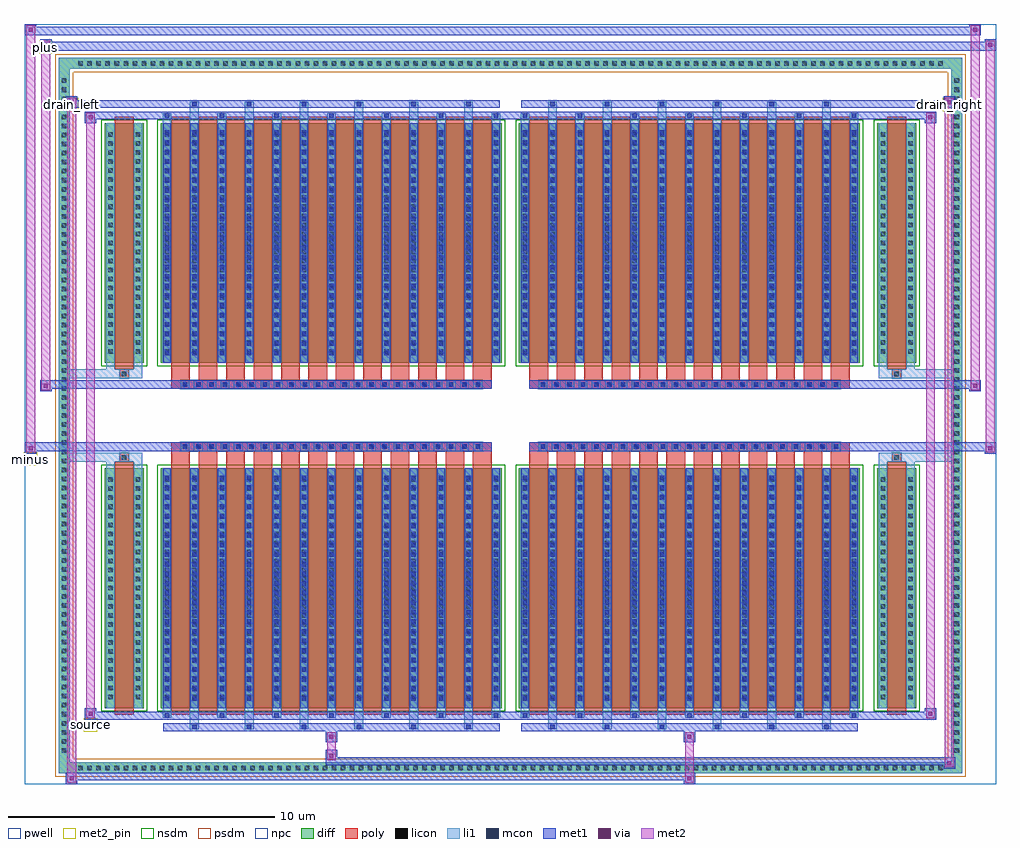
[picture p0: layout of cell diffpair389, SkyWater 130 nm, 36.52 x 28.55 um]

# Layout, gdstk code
import gdstk
lib = gdstk.Library(unit=1e-6, precision=5e-09)
def R(c, l, rs):  # rectangles x0, y0, x1, y1
    for r in rs: c.add(gdstk.rectangle(r[:2], r[2:], *l))
def A(c, l, x, y, w, h, nx, ny, dx, dy):  # array of equal rectangles
    R(c, l, [(x+i*dx, y+j*dy, x+i*dx+w, y+j*dy+h) for i in range(nx) for j in range(ny)])
def P(c, l, *ps):  # polygons
    for p in ps: c.add(gdstk.Polygon(p, *l))
pwell = (64, 44)
diff = (65, 20)
poly = (66, 20)
licon = (66, 44)
li1 = (67, 20)
mcon = (67, 44)
met1 = (68, 20)
via = (68, 44)
met2_pin = (69, 16)
met2 = (69, 20)
nsdm = (93, 44)
psdm = (94, 20)
npc = (95, 20)

diffpair389 = lib.new_cell('diffpair389')
R(diffpair389, pwell, [(-18.24,-13.84,18.24,14.71), (-15.56,-12.03,-0.01,-0.805), (0.01,-12.03,15.56,-0.805), (-15.56,0.805,-0.01,12.03), (0.01,0.805,15.56,12.03)])
A(diffpair389, diff, -16.355, -13.44, 0.41, 0.41, 96, 2, 0.34, 26.47)
A(diffpair389, diff, -16.97, -12.785, 0.41, 0.41, 1, 75, 0, 0.34)
A(diffpair389, diff, 16.56, -12.785, 0.41, 0.41, 1, 75, 0, 0.34)
R(diffpair389, diff, [(-16.355,-13.44,16.355,-13.03), (-16.97,-12.785,-16.56,12.785), (16.56,-12.785,16.97,12.785), (-15.25,-10.985,-13.77,-1.985), (-13.13,-10.985,-0.32,-1.985), (0.32,-10.985,13.13,-1.985), (13.77,-10.985,15.25,-1.985), (-15.25,1.985,-13.77,10.985), (-13.13,1.985,-0.32,10.985), (0.32,1.985,13.13,10.985), (13.77,1.985,15.25,10.985), (-16.355,13.03,16.355,13.44)])
P(diffpair389, diff, [(16.97,13.44),(-16.97,13.44),(-16.97,-13.03),(-16.56,-13.03),(-16.56,13.03),(16.56,13.03),(16.56,-13.03),(-16.56,-13.03),(-16.97,-13.03),(-16.97,-13.44),(16.97,-13.44)])
A(diffpair389, poly, -12.74, -11.235, 0.7, 9.5, 12, 2, 1.03, 12.97)
A(diffpair389, poly, 0.71, -11.235, 0.7, 9.5, 12, 2, 1.03, 12.97)
A(diffpair389, poly, -12.74, -1.735, 0.7, 0.4, 12, 2, 1.03, 3.07)
A(diffpair389, poly, 0.71, -1.735, 0.7, 0.4, 12, 2, 1.03, 3.07)
A(diffpair389, poly, -12.39, -1.335, 0.33, 0.33, 23, 2, 0.5, 2.34)
A(diffpair389, poly, 1.06, -1.335, 0.33, 0.33, 23, 2, 0.5, 2.34)
R(diffpair389, poly, [(-14.86,-11.235,-14.16,-1.735), (14.16,-11.235,14.86,-1.735), (-14.675,-1.735,-14.345,-1.405), (-14.675,-1.735,-14.345,-1.405), (14.345,-1.735,14.675,-1.405), (14.345,-1.735,14.675,-1.405), (-12.74,-1.335,-0.71,-1.005), (0.71,-1.335,12.74,-1.005), (-12.74,1.005,-0.71,1.335), (0.71,1.005,12.74,1.335), (-14.675,1.405,-14.345,1.735), (-14.675,1.405,-14.345,1.735), (14.345,1.405,14.675,1.735), (14.345,1.405,14.675,1.735), (-14.86,1.735,-14.16,11.235), (14.16,1.735,14.86,11.235)])
A(diffpair389, licon, -16.235, -13.32, 0.17, 0.17, 96, 2, 0.34, 26.47)
A(diffpair389, licon, -16.85, -12.665, 0.17, 0.17, 1, 75, 0, 0.34)
A(diffpair389, licon, 16.68, -12.665, 0.17, 0.17, 1, 75, 0, 0.34)
A(diffpair389, licon, -15.11, -10.65, 0.17, 0.17, 1, 25, 0, 0.34)
A(diffpair389, licon, -14.08, -10.65, 0.17, 0.17, 1, 25, 0, 0.34)
A(diffpair389, licon, -12.99, -10.65, 0.17, 0.17, 13, 25, 1.03, 0.34)
A(diffpair389, licon, 0.46, -10.65, 0.17, 0.17, 13, 25, 1.03, 0.34)
A(diffpair389, licon, 13.91, -10.65, 0.17, 0.17, 1, 25, 0, 0.34)
A(diffpair389, licon, 14.94, -10.65, 0.17, 0.17, 1, 25, 0, 0.34)
A(diffpair389, licon, -12.31, -1.255, 0.17, 0.17, 23, 2, 0.5, 2.34)
A(diffpair389, licon, 1.14, -1.255, 0.17, 0.17, 23, 2, 0.5, 2.34)
A(diffpair389, licon, -15.11, 2.32, 0.17, 0.17, 1, 25, 0, 0.34)
A(diffpair389, licon, -14.08, 2.32, 0.17, 0.17, 1, 25, 0, 0.34)
A(diffpair389, licon, -12.99, 2.32, 0.17, 0.17, 13, 25, 1.03, 0.34)
A(diffpair389, licon, 0.46, 2.32, 0.17, 0.17, 13, 25, 1.03, 0.34)
A(diffpair389, licon, 13.91, 2.32, 0.17, 0.17, 1, 25, 0, 0.34)
A(diffpair389, licon, 14.94, 2.32, 0.17, 0.17, 1, 25, 0, 0.34)
R(diffpair389, licon, [(-14.595,-1.655,-14.425,-1.485), (14.425,-1.655,14.595,-1.485), (-14.595,1.485,-14.425,1.655), (14.425,1.485,14.595,1.655)])
A(diffpair389, li1, -16.315, -13.4, 0.33, 0.33, 96, 2, 0.34, 26.47)
A(diffpair389, li1, -16.93, -12.745, 0.33, 0.33, 1, 75, 0, 0.34)
A(diffpair389, li1, 16.6, -12.745, 0.33, 0.33, 1, 75, 0, 0.34)
A(diffpair389, li1, -12.04, -11.79, 0.33, 0.805, 6, 2, 2.06, 22.775)
A(diffpair389, li1, -11.96, -11.79, 0.17, 0.17, 6, 2, 2.06, 23.41)
A(diffpair389, li1, 1.41, -11.79, 0.33, 0.805, 6, 2, 2.06, 22.775)
A(diffpair389, li1, 1.49, -11.79, 0.17, 0.17, 6, 2, 2.06, 23.41)
A(diffpair389, li1, -13.07, -11.36, 0.33, 0.375, 7, 2, 2.06, 22.345)
A(diffpair389, li1, -12.99, -11.36, 0.17, 0.17, 7, 2, 2.06, 22.55)
A(diffpair389, li1, 0.38, -11.36, 0.33, 0.375, 7, 2, 2.06, 22.345)
A(diffpair389, li1, 0.46, -11.36, 0.17, 0.17, 7, 2, 2.06, 22.55)
A(diffpair389, li1, -13.07, -10.985, 0.33, 9, 13, 2, 1.03, 12.97)
A(diffpair389, li1, 0.38, -10.985, 0.33, 9, 13, 2, 1.03, 12.97)
A(diffpair389, li1, -15.19, -10.73, 0.33, 0.33, 1, 25, 0, 0.34)
A(diffpair389, li1, -14.16, -10.73, 0.33, 0.33, 1, 25, 0, 0.34)
A(diffpair389, li1, -13.07, -10.73, 0.33, 0.33, 13, 25, 1.03, 0.34)
A(diffpair389, li1, 0.38, -10.73, 0.33, 0.33, 13, 25, 1.03, 0.34)
A(diffpair389, li1, 13.83, -10.73, 0.33, 0.33, 1, 25, 0, 0.34)
A(diffpair389, li1, 14.86, -10.73, 0.33, 0.33, 1, 25, 0, 0.34)
A(diffpair389, li1, -12.99, -10.71, 0.17, 0.17, 13, 24, 1.03, 0.36)
A(diffpair389, li1, -12.99, -10.71, 0.17, 8.45, 13, 2, 1.03, 12.97)
A(diffpair389, li1, 0.46, -10.71, 0.17, 0.17, 13, 24, 1.03, 0.36)
A(diffpair389, li1, 0.46, -10.71, 0.17, 8.45, 13, 2, 1.03, 12.97)
A(diffpair389, li1, -12.39, -1.335, 0.33, 0.33, 23, 2, 0.5, 2.34)
A(diffpair389, li1, 1.06, -1.335, 0.33, 0.33, 23, 2, 0.5, 2.34)
A(diffpair389, li1, -15.19, 2.24, 0.33, 0.33, 1, 25, 0, 0.34)
A(diffpair389, li1, -14.16, 2.24, 0.33, 0.33, 1, 25, 0, 0.34)
A(diffpair389, li1, -13.07, 2.24, 0.33, 0.33, 13, 25, 1.03, 0.34)
A(diffpair389, li1, 0.38, 2.24, 0.33, 0.33, 13, 25, 1.03, 0.34)
A(diffpair389, li1, 13.83, 2.24, 0.33, 0.33, 1, 25, 0, 0.34)
A(diffpair389, li1, 14.86, 2.24, 0.33, 0.33, 1, 25, 0, 0.34)
A(diffpair389, li1, -12.99, 2.26, 0.17, 0.17, 13, 24, 1.03, 0.36)
A(diffpair389, li1, 0.46, 2.26, 0.17, 0.17, 13, 24, 1.03, 0.36)
R(diffpair389, li1, [(-16.97,-13.44,-16.56,-13.03), (-16.97,-13.44,-16.56,-13.03), (-16.56,-13.44,16.56,-13.03), (16.56,-13.44,16.97,-13.03), (16.56,-13.44,16.97,-13.03), (-16.97,-13.03,-16.56,13.03), (16.56,-13.03,16.97,13.03), (-15.19,-10.985,-14.86,-1.985), (-14.16,-10.985,-13.83,-1.985), (13.83,-10.985,14.16,-1.985), (14.86,-10.985,15.19,-1.985), (-15.19,-1.985,-14.86,-1.405), (-14.16,-1.985,-13.83,-1.405), (13.83,-1.985,14.16,-1.405), (14.86,-1.985,15.19,-1.405), (-16.97,-1.735,-14.675,-1.405), (-15.19,-1.735,-14.675,-1.405), (-14.675,-1.735,-14.345,-1.405), (-14.345,-1.735,-13.83,-1.405), (13.83,-1.735,14.345,-1.405), (14.345,-1.735,14.675,-1.405), (14.345,-1.735,16.97,-1.405), (14.675,-1.735,15.19,-1.405), (-16.97,1.405,-14.675,1.735), (-15.19,1.405,-14.675,1.735), (-15.19,1.405,-14.86,1.985), (-14.675,1.405,-14.345,1.735), (-14.345,1.405,-13.83,1.735), (-14.16,1.405,-13.83,1.985), (13.83,1.405,14.345,1.735), (13.83,1.405,14.16,1.985), (14.345,1.405,14.675,1.735), (14.345,1.405,16.97,1.735), (14.675,1.405,15.19,1.735), (14.86,1.405,15.19,1.985), (-15.19,1.985,-14.86,10.985), (-14.16,1.985,-13.83,10.985), (13.83,1.985,14.16,10.985), (14.86,1.985,15.19,10.985), (-16.97,13.03,-16.56,13.44), (-16.97,13.03,-16.56,13.44), (-16.56,13.03,16.56,13.44), (16.56,13.03,16.97,13.44), (16.56,13.03,16.97,13.44)])
A(diffpair389, mcon, -11.96, -11.79, 0.17, 0.17, 6, 2, 2.06, 23.41)
A(diffpair389, mcon, 1.49, -11.79, 0.17, 0.17, 6, 2, 2.06, 23.41)
A(diffpair389, mcon, -12.99, -11.36, 0.17, 0.17, 7, 2, 2.06, 22.55)
A(diffpair389, mcon, 0.46, -11.36, 0.17, 0.17, 7, 2, 2.06, 22.55)
A(diffpair389, mcon, -12.99, -10.71, 0.17, 0.17, 13, 24, 1.03, 0.36)
A(diffpair389, mcon, 0.46, -10.71, 0.17, 0.17, 13, 24, 1.03, 0.36)
A(diffpair389, mcon, -12.31, -1.255, 0.17, 0.17, 23, 2, 0.5, 2.34)
A(diffpair389, mcon, 1.14, -1.255, 0.17, 0.17, 23, 2, 0.5, 2.34)
A(diffpair389, mcon, -12.99, 2.26, 0.17, 0.17, 13, 24, 1.03, 0.36)
A(diffpair389, mcon, 0.46, 2.26, 0.17, 0.17, 13, 24, 1.03, 0.36)
A(diffpair389, met1, -12.02, -11.85, 0.29, 0.29, 6, 2, 2.06, 23.41)
A(diffpair389, met1, 1.43, -11.85, 0.29, 0.29, 6, 2, 2.06, 23.41)
A(diffpair389, met1, -13.05, -11.42, 0.29, 0.29, 7, 2, 2.06, 22.55)
A(diffpair389, met1, 0.4, -11.42, 0.29, 0.29, 7, 2, 2.06, 22.55)
A(diffpair389, met1, -13.05, -10.985, 0.29, 9, 13, 2, 1.03, 12.97)
A(diffpair389, met1, 0.4, -10.985, 0.29, 9, 13, 2, 1.03, 12.97)
A(diffpair389, met1, -13.05, -10.77, 0.29, 0.29, 13, 24, 1.03, 0.36)
A(diffpair389, met1, 0.4, -10.77, 0.29, 0.29, 13, 24, 1.03, 0.36)
A(diffpair389, met1, -12.37, -1.315, 0.29, 0.29, 23, 2, 0.5, 2.34)
A(diffpair389, met1, 1.08, -1.315, 0.29, 0.29, 23, 2, 0.5, 2.34)
A(diffpair389, met1, -13.05, 2.2, 0.29, 0.29, 13, 24, 1.03, 0.36)
A(diffpair389, met1, 0.4, 2.2, 0.29, 0.29, 13, 24, 1.03, 0.36)
R(diffpair389, met1, [(-16.7,-13.84,-16.27,-13.41), (6.51,-13.84,6.94,-13.41), (-16.7,-13.7,6.94,-13.41), (16.27,-13.27,16.7,-12.84), (-6.94,-13.13,16.7,-12.84), (-6.94,-12.99,-6.51,-12.56), (-6.94,-12.28,-6.51,-11.85), (6.51,-12.28,6.94,-11.85), (-13.05,-11.85,-0.4,-11.56), (0.4,-11.85,13.05,-11.56), (-15.99,-11.42,-15.56,-10.99), (-15.99,-11.42,-13.05,-11.13), (-13.05,-11.42,-0.4,-11.13), (-0.4,-11.42,0.4,-11.13), (0.4,-11.42,13.05,-11.13), (13.05,-11.42,15.99,-11.13), (15.56,-11.42,15.99,-10.99), (-18.24,-1.435,-17.81,-1.005), (17.81,-1.435,18.24,-1.005), (-18.24,-1.335,-0.71,-1.005), (-12.74,-1.335,-0.71,-1.005), (0.71,-1.335,12.74,-1.005), (0.71,-1.335,18.24,-1.005), (-17.67,0.905,-17.24,1.335), (17.24,0.905,17.67,1.335), (-17.67,1.005,-12.74,1.335), (-12.74,1.005,-0.71,1.335), (0.71,1.005,12.74,1.335), (12.74,1.005,17.67,1.335), (-15.99,10.99,-15.56,11.42), (15.56,10.99,15.99,11.42), (-15.99,11.13,-13.05,11.42), (-13.05,11.13,-0.4,11.42), (-0.4,11.13,0.4,11.42), (0.4,11.13,13.05,11.42), (13.05,11.13,15.99,11.42), (-16.7,11.56,-16.27,11.99), (-16.7,11.56,-13.05,11.85), (-13.05,11.56,-0.4,11.85), (0.4,11.56,13.05,11.85), (13.05,11.56,16.7,11.85), (16.27,11.56,16.7,11.99), (-17.67,13.71,-17.24,14.14), (-17.67,13.71,-15.56,14.04), (-15.56,13.71,15.56,14.04), (15.56,13.71,18.24,14.04), (17.81,13.71,18.24,14.14), (-18.24,14.28,-17.81,14.71), (-18.24,14.28,-15.56,14.61), (-15.56,14.28,15.56,14.61), (15.56,14.28,17.67,14.61), (17.24,14.28,17.67,14.71)])
R(diffpair389, via, [(-16.56,-13.7,-16.41,-13.55), (6.65,-13.7,6.8,-13.55), (16.41,-13.13,16.56,-12.98), (-6.8,-12.85,-6.65,-12.7), (-6.8,-12.14,-6.65,-11.99), (6.65,-12.14,6.8,-11.99), (-15.85,-11.28,-15.7,-11.13), (15.7,-11.28,15.85,-11.13), (-18.1,-1.295,-17.95,-1.145), (17.95,-1.295,18.1,-1.145), (-17.53,1.045,-17.38,1.195), (17.38,1.045,17.53,1.195), (-15.85,11.13,-15.7,11.28), (15.7,11.13,15.85,11.28), (-16.56,11.7,-16.41,11.85), (16.41,11.7,16.56,11.85), (-17.53,13.85,-17.38,14), (17.95,13.85,18.1,14), (-18.1,14.42,-17.95,14.57), (17.38,14.42,17.53,14.57)])
R(diffpair389, met2_pin, [(-16.025,-11.87,-15.525,-11.37), (-18.275,-1.885,-17.775,-1.385), (-16.735,11.44,-16.235,11.94), (16.235,11.44,16.735,11.94), (-17.705,13.59,-17.205,14.09)])
R(diffpair389, met2, [(-16.65,-13.79,-16.32,-13.46), (-16.65,-13.79,-16.32,11.94), (6.56,-13.79,6.89,-13.46), (6.56,-13.46,6.89,-12.23), (16.32,-13.22,16.65,-12.89), (16.32,-13.22,16.65,11.94), (-6.89,-12.94,-6.56,-12.61), (-6.89,-12.61,-6.56,-12.23), (-6.89,-12.23,-6.56,-11.9), (6.56,-12.23,6.89,-11.9), (-15.94,-11.37,-15.61,-11.04), (-15.94,-11.37,-15.61,11.37), (15.61,-11.37,15.94,-11.04), (15.61,-11.37,15.94,11.37), (-18.19,-1.385,-17.86,-1.055), (-18.19,-1.385,-17.86,14.66), (17.86,-1.385,18.19,-1.055), (17.86,-1.385,18.19,14.09), (-17.62,0.955,-17.29,1.285), (-17.62,0.955,-17.29,14.09), (17.29,0.955,17.62,1.285), (17.29,0.955,17.62,14.66), (-15.94,11.04,-15.61,11.37), (15.61,11.04,15.94,11.37), (-16.65,11.61,-16.32,11.94), (16.32,11.61,16.65,11.94), (-17.62,13.76,-17.29,14.09), (17.86,13.76,18.19,14.09), (-18.19,14.33,-17.86,14.66), (17.29,14.33,17.62,14.66)])
P(diffpair389, met2, [(18.19,-1.385),(18.19,-1.385),(18.19,-1.055),(18.19,-1.055)],
  [(18.19,13.76),(18.19,13.76),(18.19,14.09),(18.19,14.09)],
  [(-17.86,-1.385),(-17.86,-1.385),(-17.86,-1.055),(-17.86,-1.055)],
  [(-17.86,14.33),(-17.86,14.33),(-17.86,14.66),(-17.86,14.66)],
  [(17.62,0.955),(17.62,0.955),(17.62,1.285),(17.62,1.285)],
  [(17.62,14.33),(17.62,14.33),(17.62,14.66),(17.62,14.66)],
  [(-17.29,0.955),(-17.29,0.955),(-17.29,1.285),(-17.29,1.285)],
  [(-17.29,13.76),(-17.29,13.76),(-17.29,14.09),(-17.29,14.09)],
  [(-16.32,-13.79),(-16.32,-13.79),(-16.32,-13.46),(-16.32,-13.46)],
  [(-16.32,11.61),(-16.32,11.61),(-16.32,11.94),(-16.32,11.94)],
  [(16.65,-13.22),(16.65,-13.22),(16.65,-12.89),(16.65,-12.89)],
  [(16.65,11.61),(16.65,11.61),(16.65,11.94),(16.65,11.94)],
  [(-15.61,-11.37),(-15.61,-11.37),(-15.61,-11.04),(-15.61,-11.04)],
  [(-15.61,11.04),(-15.61,11.04),(-15.61,11.37),(-15.61,11.37)],
  [(15.94,-11.37),(15.94,-11.37),(15.94,-11.04),(15.94,-11.04)],
  [(15.94,11.04),(15.94,11.04),(15.94,11.37),(15.94,11.37)])
R(diffpair389, nsdm, [(-15.38,-11.115,-13.64,-1.855), (-13.26,-11.115,-0.19,-1.855), (0.19,-11.115,13.26,-1.855), (13.64,-11.115,15.38,-1.855), (-15.38,1.855,-13.64,11.115), (-13.26,1.855,-0.19,11.115), (0.19,1.855,13.26,11.115), (13.64,1.855,15.38,11.115)])
P(diffpair389, psdm, [(17.1,13.57),(-17.1,13.57),(-17.1,-12.9),(-16.43,-12.9),(-16.43,12.9),(16.43,12.9),(16.43,-12.9),(-16.43,-12.9),(-17.1,-12.9),(-17.1,-13.57),(17.1,-13.57)])
A(diffpair389, npc, -12.41, -1.355, 0.37, 0.37, 23, 2, 0.5, 2.34)
A(diffpair389, npc, 1.04, -1.355, 0.37, 0.37, 23, 2, 0.5, 2.34)
R(diffpair389, npc, [(-14.695,-1.755,-14.325,-1.385), (14.325,-1.755,14.695,-1.385), (-12.41,-1.355,-11.54,-0.985), (-12.41,-1.355,-11.54,-0.985), (-11.91,-1.355,-11.04,-0.985), (-11.91,-1.355,-11.04,-0.985), (-11.41,-1.355,-10.54,-0.985), (-11.41,-1.355,-10.54,-0.985), (-10.91,-1.355,-10.04,-0.985), (-10.91,-1.355,-10.04,-0.985), (-10.41,-1.355,-9.54,-0.985), (-10.41,-1.355,-9.54,-0.985), (-9.91,-1.355,-9.04,-0.985), (-9.91,-1.355,-9.04,-0.985), (-9.41,-1.355,-8.54,-0.985), (-9.41,-1.355,-8.54,-0.985), (-8.91,-1.355,-8.04,-0.985), (-8.91,-1.355,-8.04,-0.985), (-8.41,-1.355,-7.54,-0.985), (-8.41,-1.355,-7.54,-0.985), (-7.91,-1.355,-7.04,-0.985), (-7.91,-1.355,-7.04,-0.985), (-7.41,-1.355,-6.54,-0.985), (-7.41,-1.355,-6.54,-0.985), (-6.91,-1.355,-6.04,-0.985), (-6.91,-1.355,-6.04,-0.985), (-6.41,-1.355,-5.54,-0.985), (-6.41,-1.355,-5.54,-0.985), (-5.91,-1.355,-5.04,-0.985), (-5.91,-1.355,-5.04,-0.985), (-5.41,-1.355,-4.54,-0.985), (-5.41,-1.355,-4.54,-0.985), (-4.91,-1.355,-4.04,-0.985), (-4.91,-1.355,-4.04,-0.985), (-4.41,-1.355,-3.54,-0.985), (-4.41,-1.355,-3.54,-0.985), (-3.91,-1.355,-3.04,-0.985), (-3.91,-1.355,-3.04,-0.985), (-3.41,-1.355,-2.54,-0.985), (-3.41,-1.355,-2.54,-0.985), (-2.91,-1.355,-2.04,-0.985), (-2.91,-1.355,-2.04,-0.985), (-2.41,-1.355,-1.54,-0.985), (-2.41,-1.355,-1.54,-0.985), (-1.91,-1.355,-1.04,-0.985), (-1.91,-1.355,-1.04,-0.985), (1.04,-1.355,1.91,-0.985), (1.04,-1.355,1.91,-0.985), (1.54,-1.355,2.41,-0.985), (1.54,-1.355,2.41,-0.985), (2.04,-1.355,2.91,-0.985), (2.04,-1.355,2.91,-0.985), (2.54,-1.355,3.41,-0.985), (2.54,-1.355,3.41,-0.985), (3.04,-1.355,3.91,-0.985), (3.04,-1.355,3.91,-0.985), (3.54,-1.355,4.41,-0.985), (3.54,-1.355,4.41,-0.985), (4.04,-1.355,4.91,-0.985), (4.04,-1.355,4.91,-0.985), (4.54,-1.355,5.41,-0.985), (4.54,-1.355,5.41,-0.985), (5.04,-1.355,5.91,-0.985), (5.04,-1.355,5.91,-0.985), (5.54,-1.355,6.41,-0.985), (5.54,-1.355,6.41,-0.985), (6.04,-1.355,6.91,-0.985), (6.04,-1.355,6.91,-0.985), (6.54,-1.355,7.41,-0.985), (6.54,-1.355,7.41,-0.985), (7.04,-1.355,7.91,-0.985), (7.04,-1.355,7.91,-0.985), (7.54,-1.355,8.41,-0.985), (7.54,-1.355,8.41,-0.985), (8.04,-1.355,8.91,-0.985), (8.04,-1.355,8.91,-0.985), (8.54,-1.355,9.41,-0.985), (8.54,-1.355,9.41,-0.985), (9.04,-1.355,9.91,-0.985), (9.04,-1.355,9.91,-0.985), (9.54,-1.355,10.41,-0.985), (9.54,-1.355,10.41,-0.985), (10.04,-1.355,10.91,-0.985), (10.04,-1.355,10.91,-0.985), (10.54,-1.355,11.41,-0.985), (10.54,-1.355,11.41,-0.985), (11.04,-1.355,11.91,-0.985), (11.04,-1.355,11.91,-0.985), (11.54,-1.355,12.41,-0.985), (11.54,-1.355,12.41,-0.985), (-12.41,0.985,-11.54,1.355), (-12.41,0.985,-11.54,1.355), (-11.91,0.985,-11.04,1.355), (-11.91,0.985,-11.04,1.355), (-11.41,0.985,-10.54,1.355), (-11.41,0.985,-10.54,1.355), (-10.91,0.985,-10.04,1.355), (-10.91,0.985,-10.04,1.355), (-10.41,0.985,-9.54,1.355), (-10.41,0.985,-9.54,1.355), (-9.91,0.985,-9.04,1.355), (-9.91,0.985,-9.04,1.355), (-9.41,0.985,-8.54,1.355), (-9.41,0.985,-8.54,1.355), (-8.91,0.985,-8.04,1.355), (-8.91,0.985,-8.04,1.355), (-8.41,0.985,-7.54,1.355), (-8.41,0.985,-7.54,1.355), (-7.91,0.985,-7.04,1.355), (-7.91,0.985,-7.04,1.355), (-7.41,0.985,-6.54,1.355), (-7.41,0.985,-6.54,1.355), (-6.91,0.985,-6.04,1.355), (-6.91,0.985,-6.04,1.355), (-6.41,0.985,-5.54,1.355), (-6.41,0.985,-5.54,1.355), (-5.91,0.985,-5.04,1.355), (-5.91,0.985,-5.04,1.355), (-5.41,0.985,-4.54,1.355), (-5.41,0.985,-4.54,1.355), (-4.91,0.985,-4.04,1.355), (-4.91,0.985,-4.04,1.355), (-4.41,0.985,-3.54,1.355), (-4.41,0.985,-3.54,1.355), (-3.91,0.985,-3.04,1.355), (-3.91,0.985,-3.04,1.355), (-3.41,0.985,-2.54,1.355), (-3.41,0.985,-2.54,1.355), (-2.91,0.985,-2.04,1.355), (-2.91,0.985,-2.04,1.355), (-2.41,0.985,-1.54,1.355), (-2.41,0.985,-1.54,1.355), (-1.91,0.985,-1.04,1.355), (-1.91,0.985,-1.04,1.355), (1.04,0.985,1.91,1.355), (1.04,0.985,1.91,1.355), (1.54,0.985,2.41,1.355), (1.54,0.985,2.41,1.355), (2.04,0.985,2.91,1.355), (2.04,0.985,2.91,1.355), (2.54,0.985,3.41,1.355), (2.54,0.985,3.41,1.355), (3.04,0.985,3.91,1.355), (3.04,0.985,3.91,1.355), (3.54,0.985,4.41,1.355), (3.54,0.985,4.41,1.355), (4.04,0.985,4.91,1.355), (4.04,0.985,4.91,1.355), (4.54,0.985,5.41,1.355), (4.54,0.985,5.41,1.355), (5.04,0.985,5.91,1.355), (5.04,0.985,5.91,1.355), (5.54,0.985,6.41,1.355), (5.54,0.985,6.41,1.355), (6.04,0.985,6.91,1.355), (6.04,0.985,6.91,1.355), (6.54,0.985,7.41,1.355), (6.54,0.985,7.41,1.355), (7.04,0.985,7.91,1.355), (7.04,0.985,7.91,1.355), (7.54,0.985,8.41,1.355), (7.54,0.985,8.41,1.355), (8.04,0.985,8.91,1.355), (8.04,0.985,8.91,1.355), (8.54,0.985,9.41,1.355), (8.54,0.985,9.41,1.355), (9.04,0.985,9.91,1.355), (9.04,0.985,9.91,1.355), (9.54,0.985,10.41,1.355), (9.54,0.985,10.41,1.355), (10.04,0.985,10.91,1.355), (10.04,0.985,10.91,1.355), (10.54,0.985,11.41,1.355), (10.54,0.985,11.41,1.355), (11.04,0.985,11.91,1.355), (11.04,0.985,11.91,1.355), (11.54,0.985,12.41,1.355), (11.54,0.985,12.41,1.355), (-14.695,1.385,-14.325,1.755), (14.325,1.385,14.695,1.755)])
diffpair389.add(gdstk.Label('minus', (-18.025,-1.635), layer=69, texttype=5))
diffpair389.add(gdstk.Label('drain_right', (16.485,11.69), layer=69, texttype=5))
diffpair389.add(gdstk.Label('drain_left', (-16.485,11.69), layer=69, texttype=5))
diffpair389.add(gdstk.Label('source', (-15.775,-11.62), layer=69, texttype=5))
diffpair389.add(gdstk.Label('plus', (-17.455,13.84), layer=69, texttype=5))

lib.write_gds('diffpair389.gds')
